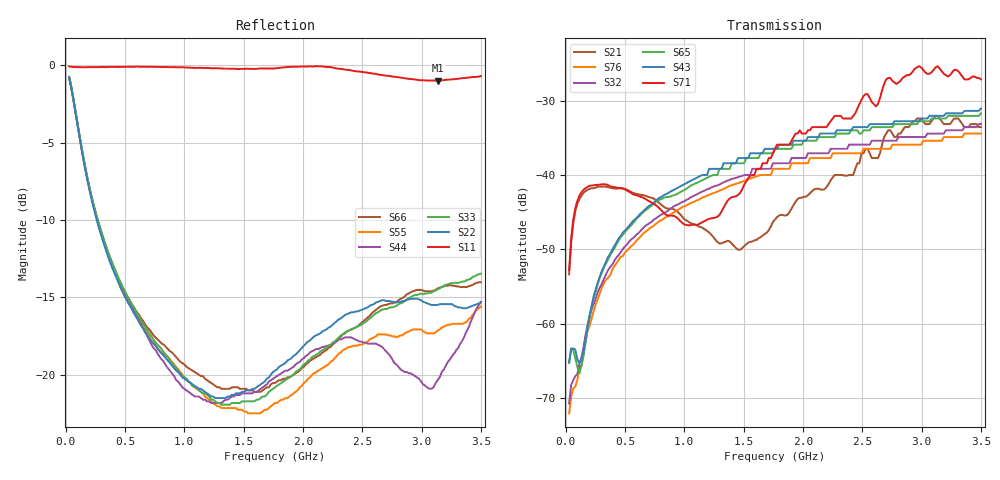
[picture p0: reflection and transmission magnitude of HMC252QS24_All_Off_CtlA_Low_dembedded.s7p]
!Hittite Microwave Corporation
!12 Elizabeth Drive
!Chelmsford, MA 01824
!Tel: 978-250-3343
!Fax: 978-250-3373
!Device: HMC252QS24, DC-3 GHz GaAS MMIC SP6T Non-Reflective Switch in 24-lead QSOP package
!Misc: Port 1 = RFCom, Port 2 = RF1, Port 3 = RF2, Port 4 = RF3, Port 5 = RF4, Port 6 = RF5, Port 7 = RF6, All Off CtlA Low, Vdd=+5V
# MHZ S MA R 50
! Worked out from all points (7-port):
!   201 points, 30 MHz to 3.5 GHz, reference 50 ohm
!   strongest paths, dB at 30 MHz, 897.5 MHz, 1.765 GHz, 2.632 GHz, 3.5 GHz:
!     S71: -52.8, -45.5, -36.5, -30.5, -27.1
!     S43: -65.2, -42.1, -36.5, -33.2, -31.1
!     S65: -65.3, -42.8, -36.5, -33.6, -31.7
!     S32: -70.8, -44.4, -38.4, -35.4, -33.2
!     S76: -72.1, -45.2, -39.2, -36.5, -34.4
!     S21: -53.4, -44.6, -46.0, -37.7, -33.6
!   lowest |S11| = -1.0 dB at 3.136 GHz (marker M1), VSWR 17.52, Z = 5.97 + j52.1 ohm
!   |S11| at or under -10 dB: nowhere
